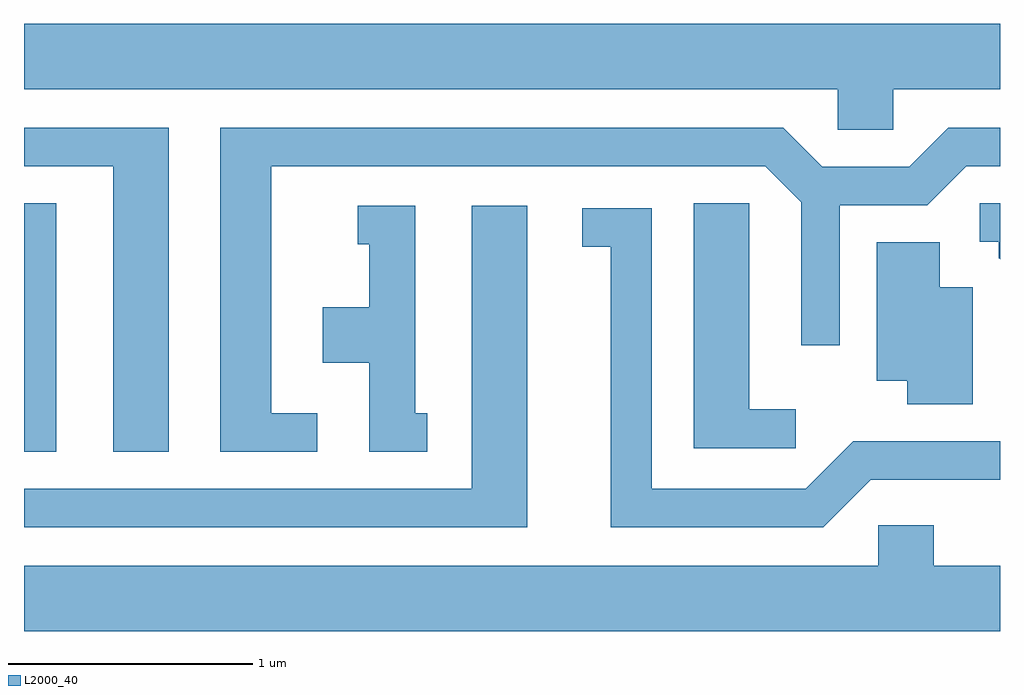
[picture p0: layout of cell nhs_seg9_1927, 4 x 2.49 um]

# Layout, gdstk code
import gdstk
lib = gdstk.Library(unit=1e-6, precision=1e-09)
def R(c, l, rs):  # rectangles x0, y0, x1, y1
    for r in rs: c.add(gdstk.rectangle(r[:2], r[2:], *l))
def P(c, l, *ps):  # polygons
    for p in ps: c.add(gdstk.Polygon(p, *l))
L2000_40 = (2000, 40)

nhs_seg9_1927 = lib.new_cell('nhs_seg9_1927')
R(nhs_seg9_1927, L2000_40, [(241.611,1999.211,241.744,2000.229)])
P(nhs_seg9_1927, L2000_40, [(245.174,2000.696),(245.611,2000.696),(245.611,2000.964),(241.611,2000.964),(241.611,2000.696),(244.946,2000.696),(244.946,2000.531),(245.174,2000.531)],
  [(242.813,1999.369),(242.624,1999.369),(242.624,2000.381),(244.649,2000.381),(244.796,2000.234),(244.796,1999.648),(244.954,1999.648),(244.954,2000.221),(245.312,2000.221),(245.472,2000.381),(245.611,2000.381),(245.611,2000.539),(245.399,2000.539),(245.239,2000.379),(244.882,2000.379),(244.722,2000.539),(242.416,2000.539),(242.416,1999.211),(242.813,1999.211)],
  [(242.204,2000.539),(241.611,2000.539),(241.611,2000.381),(241.976,2000.381),(241.976,1999.211),(242.204,1999.211)],
  [(244.773,1999.384),(244.584,1999.384),(244.584,2000.229),(244.356,2000.229),(244.356,1999.226),(244.773,1999.226)],
  [(245.611,2000.229),(245.528,2000.229),(245.528,2000.071),(245.606,2000.071),(245.606,2000.004),(245.611,1999.999)],
  [(243.263,1999.369),(243.214,1999.369),(243.214,2000.219),(242.978,2000.219),(242.978,2000.061),(243.026,2000.061),(243.026,1999.804),(242.836,1999.804),(242.836,1999.576),(243.026,1999.576),(243.026,1999.211),(243.263,1999.211)],
  [(243.674,2000.219),(243.446,2000.219),(243.446,1999.059),(241.611,1999.059),(241.611,1998.901),(243.674,1998.901)],
  [(245.082,1999.096),(245.611,1999.096),(245.611,1999.254),(245.009,1999.254),(244.814,1999.059),(244.184,1999.059),(244.184,2000.209),(243.898,2000.209),(243.898,2000.051),(244.016,2000.051),(244.016,1998.901),(244.887,1998.901)],
  [(245.499,1999.884),(245.364,1999.884),(245.364,2000.069),(245.106,2000.069),(245.106,1999.501),(245.231,1999.501),(245.231,1999.406),(245.499,1999.406)],
  [(245.611,1998.744),(245.339,1998.744),(245.339,1998.909),(245.111,1998.909),(245.111,1998.744),(241.611,1998.744),(241.611,1998.476),(245.611,1998.476)])

lib.write_gds('nhs_seg9_1927.gds')
